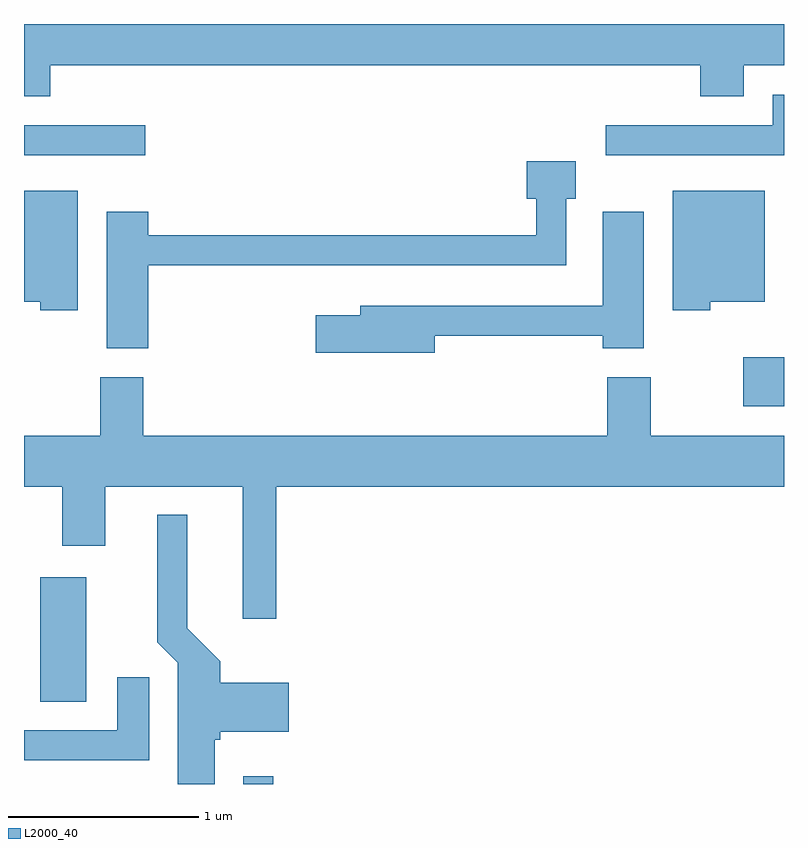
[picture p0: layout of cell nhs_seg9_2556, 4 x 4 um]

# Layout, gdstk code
import gdstk
lib = gdstk.Library(unit=1e-6, precision=1e-09)
def R(c, l, rs):  # rectangles x0, y0, x1, y1
    for r in rs: c.add(gdstk.rectangle(r[:2], r[2:], *l))
def P(c, l, *ps):  # polygons
    for p in ps: c.add(gdstk.Polygon(p, *l))
L2000_40 = (2000, 40)

nhs_seg9_2556 = lib.new_cell('nhs_seg9_2556')
R(nhs_seg9_2556, L2000_40, [(260.766,2032.432,260.924,2032.473), (259.696,2032.866,259.939,2033.519), (263.396,2034.421,263.611,2034.679), (259.611,2035.741,260.248,2035.899)])
P(nhs_seg9_2556, L2000_40, [(259.749,2036.216),(263.171,2036.216),(263.171,2036.051),(263.399,2036.051),(263.399,2036.216),(263.611,2036.216),(263.611,2036.432),(259.611,2036.432),(259.611,2036.051),(259.749,2036.051)],
  [(263.611,2036.059),(263.551,2036.059),(263.551,2035.899),(262.673,2035.899),(262.673,2035.741),(263.611,2035.741)],
  [(260.264,2035.161),(262.464,2035.161),(262.464,2035.511),(262.514,2035.511),(262.514,2035.709),(262.256,2035.709),(262.256,2035.511),(262.306,2035.511),(262.306,2035.319),(260.264,2035.319),(260.264,2035.444),(260.046,2035.444),(260.046,2034.726),(260.264,2034.726)],
  [(263.224,2034.971),(263.509,2034.971),(263.509,2035.554),(263.026,2035.554),(263.026,2034.926),(263.224,2034.926)],
  [(259.894,2035.554),(259.611,2035.554),(259.611,2034.971),(259.696,2034.971),(259.696,2034.926),(259.894,2034.926)],
  [(261.774,2034.791),(262.656,2034.791),(262.656,2034.726),(262.874,2034.726),(262.874,2035.444),(262.656,2035.444),(262.656,2034.949),(261.381,2034.949),(261.381,2034.899),(261.146,2034.899),(261.146,2034.701),(261.774,2034.701)],
  [(260.939,2033.996),(263.611,2033.996),(263.611,2034.264),(262.909,2034.264),(262.909,2034.574),(262.681,2034.574),(262.681,2034.264),(260.239,2034.264),(260.239,2034.574),(260.011,2034.574),(260.011,2034.264),(259.611,2034.264),(259.611,2033.996),(259.811,2033.996),(259.811,2033.686),(260.039,2033.686),(260.039,2033.996),(260.761,2033.996),(260.761,2033.301),(260.939,2033.301)],
  [(260.614,2032.666),(260.644,2032.666),(260.644,2032.706),(261.004,2032.706),(261.004,2032.964),(260.644,2032.964),(260.644,2033.077),(260.469,2033.252),(260.469,2033.848),(260.311,2033.848),(260.311,2033.179),(260.421,2033.069),(260.421,2032.432),(260.614,2032.432)],
  [(260.269,2032.993),(260.101,2032.993),(260.101,2032.714),(259.611,2032.714),(259.611,2032.556),(260.269,2032.556)])

lib.write_gds('nhs_seg9_2556.gds')
